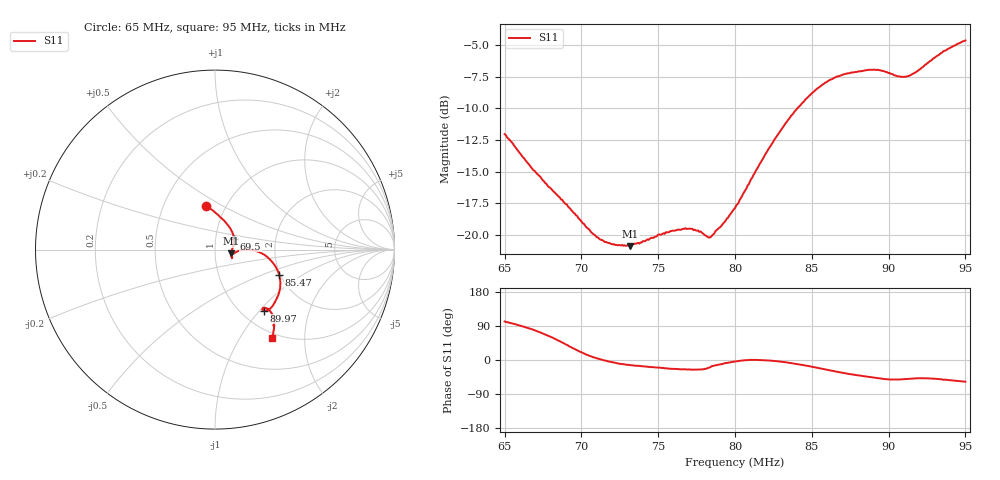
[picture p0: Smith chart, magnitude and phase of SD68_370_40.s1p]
! NanoVNA-App
! Date: 2025-08-09 12:49:21
! Start: 65MHz Stop: 95MHz Points: 401
! S-Parameter data: F S11
# Hz S RI R 50
!  Frequency  S11_Real  S11_Imag
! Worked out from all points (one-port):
!   401 points, 65 MHz to 95 MHz, reference 50 ohm
!   lowest |S11| = -20.9 dB at 73.17 MHz (marker M1), VSWR 1.20, Z = 59.6 - j2.59 ohm
!   |S11| at or under -10 dB: start of sweep to 84.05 MHz
!   S11 on the Smith chart (normalised r, x): 65 MHz: 0.81, +0.42; 69.5 MHz: 1.23, +0.15; 85.47 MHz: 1.97, -0.65; 89.97 MHz: 1.26, -1.06; 95 MHz: 0.92, -1.39
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6.5e7  -0.0503 0.2451
6.7475e7  0.0559 0.1549
6.875e7  0.0957 0.0993
6.95e7  0.1055 0.0616
7.1075e7  0.0976 0.00582
7.16e7  0.0939 -0.003
7.25e7  0.0897 -0.0164
7.3175e7  0.0877 -0.0216
7.625e7  0.0955 -0.0429
7.7225e7  0.0953 -0.0459
7.835e7  0.0919 -0.033
7.9175e7  0.1081 -0.0201
8e7  0.1275 -0.00868
8.1125e7  0.1686 0.000848
8.21e7  0.2141 -0.0041
8.2925e7  0.2557 -0.018
8.375e7  0.2961 -0.0461
8.4725e7  0.3368 -0.0933
8.5475e7  0.3566 -0.1409
8.6525e7  0.363 -0.2105
8.75e7  0.3463 -0.2657
8.915e7  0.3051 -0.3303
8.9975e7  0.2745 -0.3397
9.065e7  0.264 -0.3311
9.125e7  0.2732 -0.324
9.2075e7  0.3018 -0.338
9.305e7  0.3275 -0.3842
9.5e7  0.3172 -0.4941
